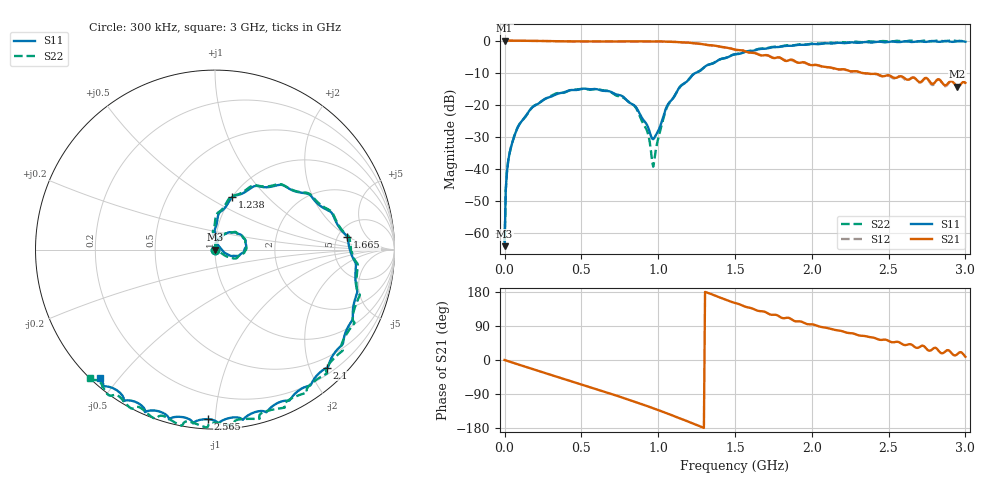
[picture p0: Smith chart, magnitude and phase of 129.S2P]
!Agilent Technologies,E5071C,MY46107260,A.09.30
!Date: Mon Jan 01 00:20:07 2001
!Data & Calibration Information:
!Freq	S11:SOLT2(ON)	S21:SOLT2(ON)	S12:SOLT2(ON)	S22:SOLT2(ON)
# Hz S dB R 50
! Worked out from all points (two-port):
!   401 points, 300 kHz to 3 GHz, reference 50 ohm
!   highest |S21| = 0.00 dB at 300 kHz (marker M1); lowest = -14.4 dB at 2.948 GHz (marker M2)
!   |S21| within 3 dB of the highest: start of sweep to 1.537 GHz
!   lowest |S11| = -64.2 dB at 300 kHz (marker M3), VSWR 1.00, Z = 50.1 + j0.0126 ohm
!   |S11| at or under -10 dB: start of sweep to 1.247 GHz
!   |S22| runs from -62.9 to 0.0 dB; largest |S21 - S12| = 0.014
!   S11 on the Smith chart (normalised r, x): 300 kHz: 1.00, +0.00; 1.238 GHz: 1.00, +0.65; 1.665 GHz: 6.06, +1.91; 2.1 GHz: 0.31, -2.29; 2.565 GHz: 0.05, -0.96; 3 GHz: 0.02, -0.45
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300000  -64.18 11.8  -0.00 -0.1  -0.00 -0.0  -62.91 11.5
2.279775e7  -37.87 82.4  -0.01 -3.1  -0.02 -3.1  -37.89 83.2
3.0297e7  -35.70 81.7  -0.02 -4.1  -0.02 -4.1  -35.69 82.4
9.779025e7  -26.07 73.4  -0.04 -12.9  -0.05 -12.9  -26.00 75.0
2.627738e8  -18.21 51.6  -0.14 -34.3  -0.15 -34.2  -18.24 50.0
5.027498e8  -15.07 19.0  -0.27 -64.9  -0.27 -64.8  -15.07 18.3
6.752325e8  -15.77 -3.7  -0.28 -87.0  -0.28 -87.0  -15.70 -5.9
8.40216e8  -20.08 -21.3  -0.25 -109.1  -0.25 -109.1  -20.17 -27.1
9.227078e8  -25.95 -15.3  -0.24 -120.7  -0.24 -120.8  -27.61 -29.6
9.677032e8  -30.79 42.8  -0.25 -127.3  -0.25 -127.4  -39.38 33.6
1.0052e9  -27.66 73.5  -0.27 -132.8  -0.27 -132.9  -29.66 83.5
1.065194e9  -19.78 90.9  -0.35 -142.0  -0.36 -142.1  -20.02 96.8
1.237676e9  -10.22 71.9  -0.87 -169.4  -0.90 -169.3  -10.25 73.2
1.50015e9  -4.29 30.0  -2.81 150.6  -2.87 150.8  -4.24 30.1
1.665134e9  -2.62 5.5  -4.55 128.9  -4.54 128.8  -2.49 5.4
1.845116e9  -1.64 -17.5  -6.24 111.5  -6.08 111.1  -1.46 -17.6
2.0026e9  -1.06 -36.5  -7.66 94.1  -7.46 92.9  -0.92 -38.3
2.10009e9  -0.85 -46.5  -8.28 84.5  -8.31 84.4  -0.64 -47.7
2.50505e9  -0.37 -88.2  -10.86 49.3  -11.07 49.8  -0.32 -89.9
2.565044e9  -0.49 -92.4  -11.31 47.4  -11.19 48.4  -0.10 -93.8
2.947505e9  -0.16 -129.1  -14.36 15.5  -14.20 18.8  -0.17 -130.3
3e9  -0.36 -131.8  -13.20 8.7  -13.37 9.1  0.00 -134.1
